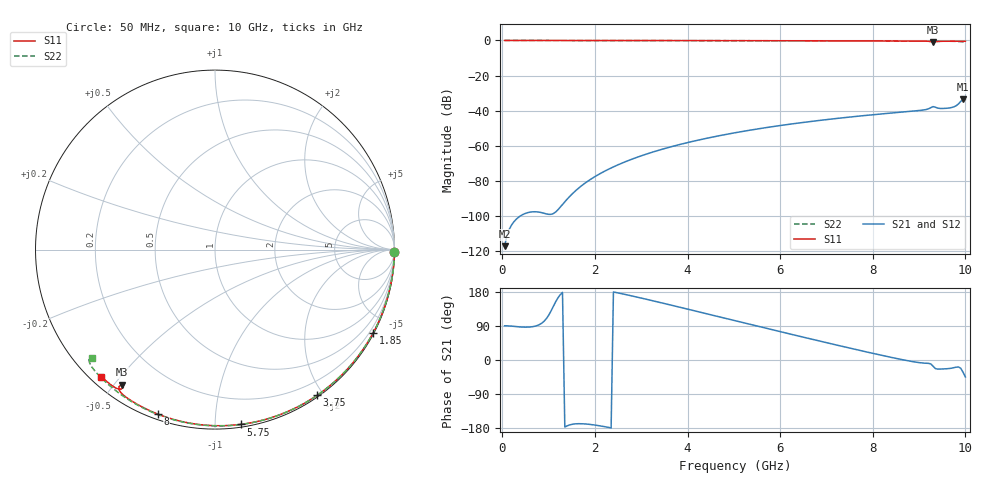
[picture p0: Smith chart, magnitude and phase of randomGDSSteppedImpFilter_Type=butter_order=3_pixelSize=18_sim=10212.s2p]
! freq	dB(S11)	phase(S11)	dB(S12)	phase(S12)
!  dB(S21)	phase(S21)	dB(S22)	phase(S22)
!S-par simulation data
#  GHz  S  DB  R 50
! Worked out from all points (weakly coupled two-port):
!   200 points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, 50 MHz to 10 GHz, reference 50 ohm
!   highest |S21| = -33.61 dB at 9.95 GHz (marker M1); lowest = -117.3 dB at 50 MHz (marker M2)
!   lowest |S11| = -0.8 dB at 9.3 GHz (marker M3), VSWR 22.01, Z = 2.9 - j26.2 ohm
!   |S11| at or under -10 dB: nowhere
!   |S22| runs from -0.8 to 0.0 dB; largest |S21 - S12| = 0
!   S11 on the Smith chart (normalised r, x): 50 MHz: open; 1.85 GHz: 0.04, -4.04; 3.75 GHz: 0.02, -1.92; 5.75 GHz: 0.02, -1.16; 8 GHz: 0.02, -0.71; 10 GHz: 0.03, -0.45
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0.05  -0.00 -0.8  -117.35 90.2  -117.35 90.2  -0.00 -0.8
0.9  -0.02 -13.7  -98.57 102.1  -98.57 102.1  -0.02 -14.5
1.75  -0.03 -26.3  -82.10 -168.4  -82.10 -168.4  -0.04 -27.8
1.85  -0.04 -27.8  -80.21 -169.4  -80.21 -169.4  -0.04 -29.4
2.2  -0.04 -32.9  -74.71 -175.7  -74.71 -175.7  -0.04 -34.8
2.55  -0.05 -38.0  -70.35 175.7  -70.35 175.7  -0.05 -40.2
2.95  -0.06 -43.8  -66.27 164.9  -66.27 164.9  -0.06 -46.2
3.4  -0.07 -50.1  -62.45 152.0  -62.45 152.0  -0.07 -52.9
3.75  -0.07 -55.0  -59.91 141.7  -59.91 141.7  -0.08 -58.1
5.05  -0.11 -72.5  -52.54 103.0  -52.54 103.0  -0.12 -76.5
5.75  -0.14 -81.6  -49.50 82.3  -49.50 82.3  -0.14 -86.0
6.7  -0.18 -93.5  -46.09 54.4  -46.09 54.4  -0.19 -98.5
8  -0.26 -109.2  -42.38 17.6  -42.38 17.6  -0.28 -114.9
8.35  -0.29 -113.3  -41.53 8.2  -41.53 8.2  -0.30 -119.3
9.1  -0.39 -122.7  -39.65 -8.2  -39.65 -8.2  -0.37 -128.5
9.25  -0.61 -125.0  -38.38 -10.2  -38.38 -10.2  -0.39 -130.4
9.3  -0.79 -124.6  -37.74 -15.9  -37.74 -15.9  -0.39 -131.0
9.45  -0.49 -124.7  -38.78 -24.0  -38.78 -24.0  -0.41 -133.0
9.7  -0.44 -128.1  -38.27 -21.6  -38.27 -21.6  -0.47 -136.4
9.8  -0.44 -129.3  -37.25 -18.9  -37.25 -18.9  -0.53 -138.0
9.95  -0.44 -131.1  -33.61 -32.5  -33.61 -32.5  -0.85 -139.0
10  -0.44 -131.7  -33.73 -44.8  -33.73 -44.8  -0.80 -138.5
